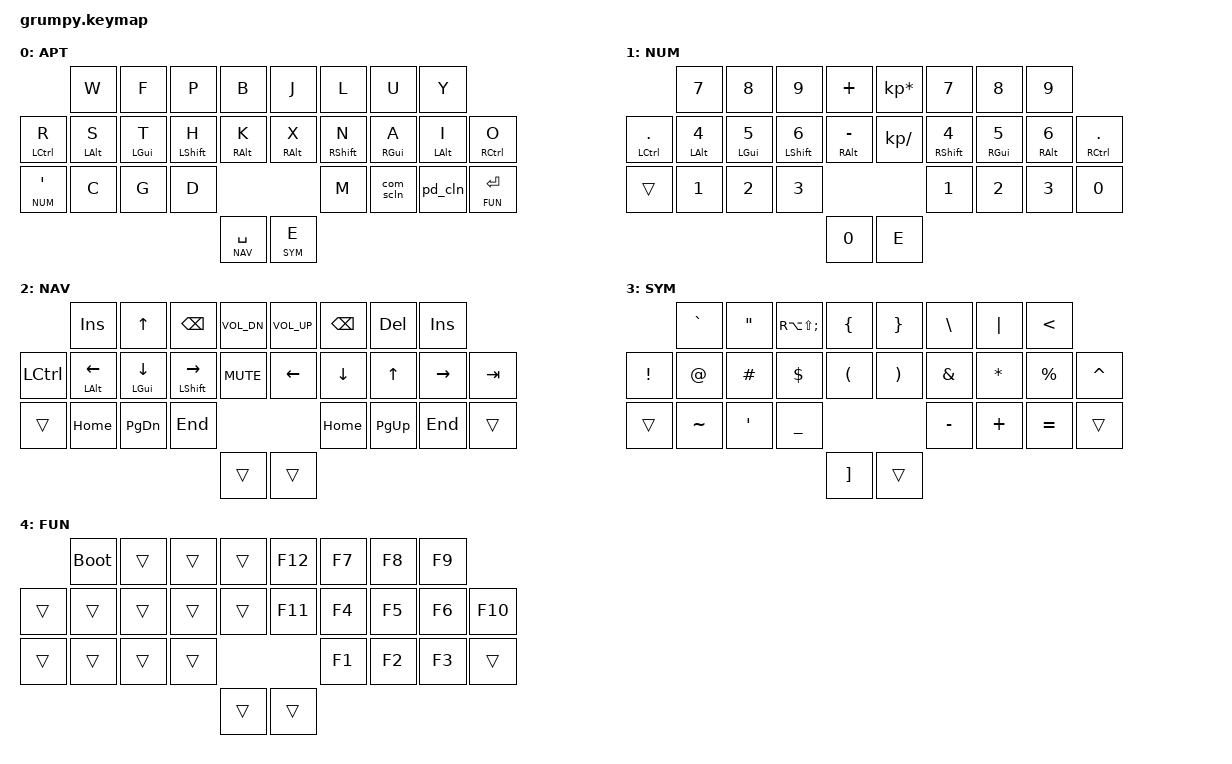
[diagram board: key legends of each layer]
#include <behaviors.dtsi>
#include <dt-bindings/zmk/bt.h>
#include <dt-bindings/zmk/keys.h>

#define APT 0
#define NUM 1
#define NAV 2
#define SYM 3
#define FUN 4

// &lt {
//     quick_tap_ms = <170>;
// };

&caps_word { continue-list = <UNDERSCORE MINUS BSPC LSHFT RSHFT>; };

/ {
    combos {
        compatible = "zmk,combos";

        left_enter {
            bindings = <&kp ENTER>;
            key-positions = <0 10 11>;
        };

        right_enter {
            bindings = <&kp ENTER>;
            key-positions = <7 15 14>;
        };

        esc {
            bindings = <&kp ESCAPE>;
            key-positions = <0 1>;
        };

        tab {
            bindings = <&kp TAB>;
            key-positions = <2 12>;
        };

        shift_tab {
            bindings = <&kp LS(TAB)>;
            key-positions = <1 11>;
        };

        hold_space {
            bindings = <&kp SPACE>;
            key-positions = <26 21>;
        };

        caps_word {
            bindings = <&caps_word>;
            key-positions = <11 14>;
        };

        toggle_nav {
            bindings = <&tog 2>;
            key-positions = <9 1 11>;
            layers = <0 2>;
            require-prior-idle-ms = <350>;
        };

        jsdoc {
            bindings = <&jsdoc>;
            key-positions = <25 24>;
        };

        caps_lock {
            bindings = <&kp CAPSLOCK>;
            key-positions = <11 10 14 15>;
        };

        screen_shot {
            bindings = <&kp LS(LG(N5))>;
            key-positions = <0 8>;
        };

        soft_off {
            bindings = <&soft_off>;
            key-positions = <0 7 26 27>;
        };

        bootloader {
            bindings = <&bootloader>;
            key-positions = <8 18 17 25>;
        };

        bt_clear_all {
            bindings = <&bt BT_CLR_ALL>;
            key-positions = <0 7>;
        };

        reset {
            bindings = <&sys_reset>;
            key-positions = <8 17>;
        };

        globe {
            bindings = <&kp GLOBE>;
            key-positions = <26 18>;
        };

        toggle_win {
            bindings = <&tog 1>;
            key-positions = <8 0 7 17>;
        };

        screenshot_win {
            bindings = <&kp LS(LG(S))>;
            key-positions = <0 8>;
            layers = <1>;
        };

        force_quit_mac {
            bindings = <&kp LA(LG(ESCAPE))>;
            key-positions = <0 1 2>;
        };
    };

    behaviors {
        hml: HOMEROW_L_MODS {
            compatible = "zmk,behavior-hold-tap";
            label = "HOMEROW_L_MODS";
            bindings = <&kp>, <&kp>;

            #binding-cells = <2>;
            tapping-term-ms = <190>;
            quick-tap-ms = <190>;
            flavor = "balanced";
            require-prior-idle-ms = <100>;
        };

        hsl: HOMEROW_L_SHIFT {
            compatible = "zmk,behavior-hold-tap";
            label = "HOMEROW_L_SHIFT";
            bindings = <&kp>, <&kp>;

            #binding-cells = <2>;
            tapping-term-ms = <190>;
            quick-tap-ms = <190>;
            flavor = "balanced";
            require-prior-idle-ms = <0>;
        };

        com_scln: comma_semicolon {
            compatible = "zmk,behavior-mod-morph";
            label = "COMMA_SEMICOLON";
            bindings = <&kp COMMA>, <&kp SEMICOLON>;

            #binding-cells = <0>;
            mods = <(MOD_LSFT|MOD_RSFT)>;
        };

        pd_cln: period_colon {
            compatible = "zmk,behavior-mod-morph";
            label = "PERIOD_COLON";
            bindings = <&kp PERIOD>, <&kp COLON>;

            #binding-cells = <0>;
            mods = <(MOD_LSFT|MOD_RSFT)>;
        };

        hmr: HOMEROW_R_MODS {
            compatible = "zmk,behavior-hold-tap";
            label = "HOMEROW_R_MODS";
            bindings = <&kp>, <&kp>;

            #binding-cells = <2>;
            tapping-term-ms = <190>;
            quick-tap-ms = <190>;
            flavor = "balanced";
            require-prior-idle-ms = <100>;
        };

        hsr: HOMEROW_R_SHIFT {
            compatible = "zmk,behavior-hold-tap";
            label = "HOMEROW_R_SHIFT";
            bindings = <&kp>, <&kp>;

            #binding-cells = <2>;
            tapping-term-ms = <190>;
            quick-tap-ms = <190>;
            flavor = "balanced";
            require-prior-idle-ms = <0>;
        };

        bksp_del: bksp_del {
            compatible = "zmk,behavior-mod-morph";
            label = "BKSP_DEL";
            bindings = <&kp BACKSPACE>, <&kp DELETE>;

            #binding-cells = <0>;
            mods = <(MOD_LSFT)>;
        };
    };

    macros {
        jsdoc: jsdoc {
            compatible = "zmk,behavior-macro";
            #binding-cells = <0>;
            bindings = <&kp FSLH &kp STAR &kp STAR &kp SPACE>;
            label = "JSDOC";
        };
    };

    //   ____________________________  ____________________________
    //  /       0  |  1  |  2  |  3  \/   4 |   5 |   6 |   7      \
// |  8  |  9  | 10  | 11  | 12  /\  13 |  14 |  15 |  16 | 17  |
    // | 19  | 19  | 20  | 21       /  \       22 |  23 |  24 | 25  |
    //                      \  26  /    \  27  /
    //                       ------      ------

    keymap {
        compatible = "zmk,keymap";

        aptmak {
            label = "APT";
            bindings = <
              &kp W        &kp F        &kp P         &kp B          &kp J        &kp L         &kp U        &kp Y
&hml LCTRL R  &hml LALT S  &hml LGUI T  &hsl LSHFT H  &hml RALT K    &hmr RALT X  &hsr RSHFT N  &hmr RGUI A  &hmr LALT I  &hmr RCTRL O
&lt NUM SQT   &kp C        &kp G        &kp D                                     &kp M         &com_scln    &pd_cln      &lt FUN ENTER
                                                      &lt NAV SPACE  &lt SYM E
            >;
        };

        numbers {
            label = "NUM";
            bindings = <
                   &kp N7              &kp N8        &kp N9               &kp PLUS         &kp KP_MULTIPLY  &kp N7                     &kp N8             &kp N9
&hml LCTRL PERIOD  &hml LALT NUMBER_4  &hml LGUI N5  &hsl LSHFT NUMBER_6  &hml RALT MINUS  &kp KP_DIVIDE    &hsr RIGHT_SHIFT NUMBER_4  &hmr RIGHT_GUI N5  &hmr RALT NUMBER_6  &hmr RCTRL DOT
&trans             &kp NUMBER_1        &kp N2        &kp NUMBER_3                                           &kp N1                     &kp N2             &kp N3              &kp N0
                                                                          &kp N0           &kp E
            >;
        };

        navigation {
            label = "NAV";
            bindings = <
           &kp INSERT      &kp UP          &kp BSPC          &kp C_VOL_DN  &kp C_VOL_UP  &kp BSPC  &kp DEL    &kp INSERT
&kp LCTRL  &hml LALT LEFT  &hml LGUI DOWN  &hsl LSHFT RIGHT  &kp C_MUTE    &kp LEFT      &kp DOWN  &kp UP     &kp RIGHT   &kp TAB
&trans     &kp HOME        &kp PG_DN       &kp END                                       &kp HOME  &kp PG_UP  &kp END     &trans
                                                             &trans        &trans
            >;
        };

        symbols {
            label = "SYM";
            bindings = <
          &kp GRAVE  &kp DQT   &kp RA(LS(SEMI))  &kp LBRC  &kp RBRC  &kp BACKSLASH  &kp PIPE      &kp LT
&kp EXCL  &kp AT     &kp HASH  &kp DOLLAR        &kp LPAR  &kp RPAR  &kp AMPERSAND  &kp ASTERISK  &kp PERCENT  &kp CARET
&trans    &kp TILDE  &kp SQT   &kp UNDERSCORE                        &kp MINUS      &kp PLUS      &kp EQUAL    &trans
                                                 &kp RBKT  &trans
            >;
        };

        function {
            label = "FUN";
            bindings = <
        &bootloader  &trans  &trans  &trans  &kp F12  &kp F7  &kp F8  &kp F9
&trans  &trans       &trans  &trans  &trans  &kp F11  &kp F4  &kp F5  &kp F6  &kp F10
&trans  &trans       &trans  &trans                   &kp F1  &kp F2  &kp F3  &trans
                                     &trans  &trans
            >;
        };
    };
};
